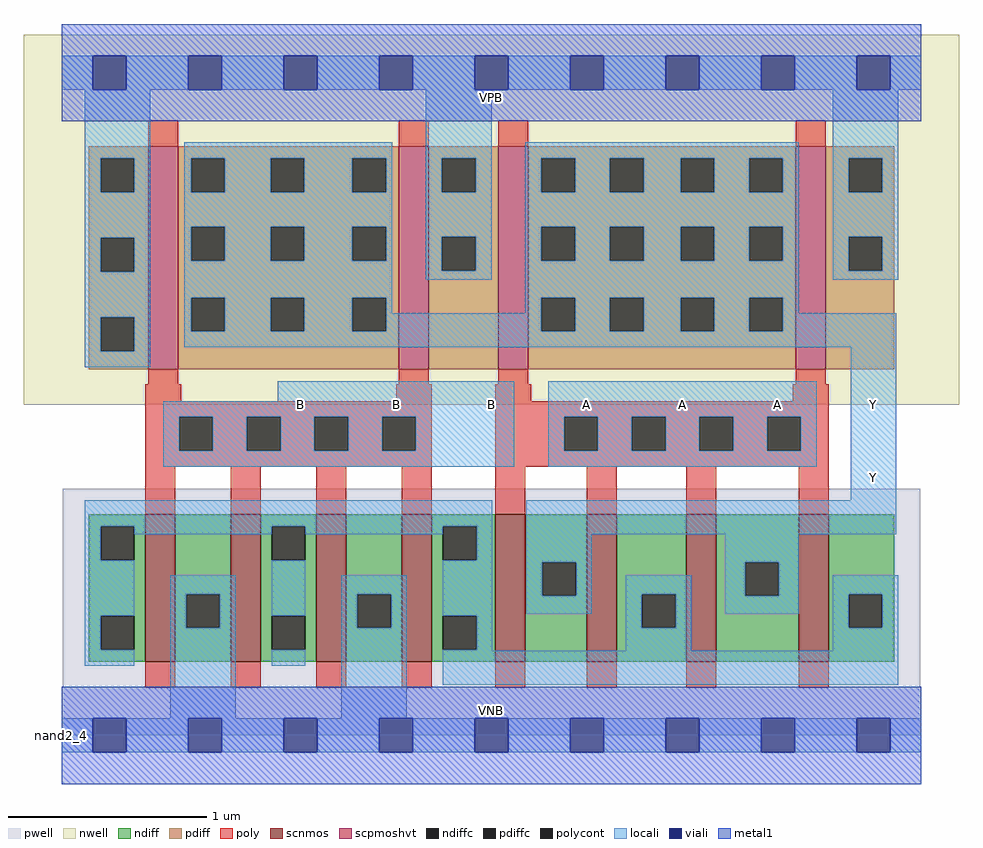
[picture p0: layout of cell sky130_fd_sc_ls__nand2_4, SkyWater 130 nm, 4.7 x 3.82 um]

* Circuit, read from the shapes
.subckt sky130_fd_sc_ls__nand2_4 A B VGND VNB VPB VPWR Y
XM1 VGND B n1 VNB sky130_fd_pr__nfet_01v8 w=0.74 l=0.15 m=4
XM2 Y A n1 VNB sky130_fd_pr__nfet_01v8 w=0.74 l=0.15 m=4
XM3 Y B VPWR VPB sky130_fd_pr__pfet_01v8_hvt w=1.12 l=0.15 m=2
XM4 Y A VPWR VPB sky130_fd_pr__pfet_01v8_hvt w=1.12 l=0.15 m=2
.ends

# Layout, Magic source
magic
tech sky130A
magscale 1 2
<< nwell >>
rect -38 332 902 704
<< pwell >>
rect 1 49 863 248
rect 0 0 864 49
<< scnmos >>
rect 84 74 114 222
rect 170 74 200 222
rect 256 74 286 222
rect 342 74 372 222
rect 436 74 466 222
rect 528 74 558 222
rect 628 74 658 222
rect 741 74 771 222
<< scpmoshvt >>
rect 87 368 117 592
rect 339 368 369 592
rect 439 368 469 592
rect 738 368 768 592
<< ndiff >>
rect 27 210 84 222
rect 27 176 39 210
rect 73 176 84 210
rect 27 120 84 176
rect 27 86 39 120
rect 73 86 84 120
rect 27 74 84 86
rect 114 142 170 222
rect 114 108 125 142
rect 159 108 170 142
rect 114 74 170 108
rect 200 210 256 222
rect 200 176 211 210
rect 245 176 256 210
rect 200 120 256 176
rect 200 86 211 120
rect 245 86 256 120
rect 200 74 256 86
rect 286 142 342 222
rect 286 108 297 142
rect 331 108 342 142
rect 286 74 342 108
rect 372 210 436 222
rect 372 176 383 210
rect 417 176 436 210
rect 372 120 436 176
rect 372 86 383 120
rect 417 86 436 120
rect 372 74 436 86
rect 466 174 528 222
rect 466 140 483 174
rect 517 140 528 174
rect 466 74 528 140
rect 558 142 628 222
rect 558 108 583 142
rect 617 108 628 142
rect 558 74 628 108
rect 658 174 741 222
rect 658 140 687 174
rect 721 140 741 174
rect 658 74 741 140
rect 771 142 837 222
rect 771 108 791 142
rect 825 108 837 142
rect 771 74 837 108
<< pdiff >>
rect 27 580 87 592
rect 27 546 39 580
rect 73 546 87 580
rect 27 500 87 546
rect 27 466 39 500
rect 73 466 87 500
rect 27 420 87 466
rect 27 386 39 420
rect 73 386 87 420
rect 27 368 87 386
rect 117 580 339 592
rect 117 546 130 580
rect 164 546 210 580
rect 244 546 292 580
rect 326 546 339 580
rect 117 511 339 546
rect 117 477 130 511
rect 164 477 210 511
rect 244 477 292 511
rect 326 477 339 511
rect 117 440 339 477
rect 117 406 130 440
rect 164 406 210 440
rect 244 406 292 440
rect 326 406 339 440
rect 117 368 339 406
rect 369 580 439 592
rect 369 546 382 580
rect 416 546 439 580
rect 369 501 439 546
rect 369 467 382 501
rect 416 467 439 501
rect 369 368 439 467
rect 469 580 738 592
rect 469 546 482 580
rect 516 546 551 580
rect 585 546 622 580
rect 656 546 691 580
rect 725 546 738 580
rect 469 511 738 546
rect 469 477 482 511
rect 516 477 551 511
rect 585 477 622 511
rect 656 477 691 511
rect 725 477 738 511
rect 469 440 738 477
rect 469 406 482 440
rect 516 406 551 440
rect 585 406 622 440
rect 656 406 691 440
rect 725 406 738 440
rect 469 368 738 406
rect 768 580 837 592
rect 768 546 791 580
rect 825 546 837 580
rect 768 501 837 546
rect 768 467 791 501
rect 825 467 837 501
rect 768 368 837 467
<< ndiffc >>
rect 39 176 73 210
rect 39 86 73 120
rect 125 108 159 142
rect 211 176 245 210
rect 211 86 245 120
rect 297 108 331 142
rect 383 176 417 210
rect 383 86 417 120
rect 483 140 517 174
rect 583 108 617 142
rect 687 140 721 174
rect 791 108 825 142
<< pdiffc >>
rect 39 546 73 580
rect 39 466 73 500
rect 39 386 73 420
rect 130 546 164 580
rect 210 546 244 580
rect 292 546 326 580
rect 130 477 164 511
rect 210 477 244 511
rect 292 477 326 511
rect 130 406 164 440
rect 210 406 244 440
rect 292 406 326 440
rect 382 546 416 580
rect 382 467 416 501
rect 482 546 516 580
rect 551 546 585 580
rect 622 546 656 580
rect 691 546 725 580
rect 482 477 516 511
rect 551 477 585 511
rect 622 477 656 511
rect 691 477 725 511
rect 482 406 516 440
rect 551 406 585 440
rect 622 406 656 440
rect 691 406 725 440
rect 791 546 825 580
rect 791 467 825 501
<< poly >>
rect 87 592 117 618
rect 339 592 369 618
rect 439 592 469 618
rect 738 592 768 618
rect 87 353 117 368
rect 339 353 369 368
rect 439 353 469 368
rect 738 353 768 368
rect 84 336 120 353
rect 336 336 372 353
rect 84 320 372 336
rect 84 286 118 320
rect 152 286 186 320
rect 220 286 254 320
rect 288 286 322 320
rect 356 286 372 320
rect 84 270 372 286
rect 84 222 114 270
rect 170 222 200 270
rect 256 222 286 270
rect 342 222 372 270
rect 436 336 472 353
rect 735 336 771 353
rect 436 320 771 336
rect 436 286 505 320
rect 539 286 573 320
rect 607 286 641 320
rect 675 286 709 320
rect 743 286 771 320
rect 436 270 771 286
rect 436 222 466 270
rect 528 222 558 270
rect 628 222 658 270
rect 741 222 771 270
rect 84 48 114 74
rect 170 48 200 74
rect 256 48 286 74
rect 342 48 372 74
rect 436 48 466 74
rect 528 48 558 74
rect 628 48 658 74
rect 741 48 771 74
<< polycont >>
rect 118 286 152 320
rect 186 286 220 320
rect 254 286 288 320
rect 322 286 356 320
rect 505 286 539 320
rect 573 286 607 320
rect 641 286 675 320
rect 709 286 743 320
<< locali >>
rect 0 649 31 683
rect 65 649 127 683
rect 161 649 223 683
rect 257 649 319 683
rect 353 649 415 683
rect 449 649 511 683
rect 545 649 607 683
rect 641 649 703 683
rect 737 649 799 683
rect 833 649 864 683
rect 23 580 89 649
rect 23 546 39 580
rect 73 546 89 580
rect 23 500 89 546
rect 23 466 39 500
rect 73 466 89 500
rect 23 420 89 466
rect 23 386 39 420
rect 73 386 89 420
rect 123 580 332 596
rect 123 546 130 580
rect 164 546 210 580
rect 244 546 292 580
rect 326 546 332 580
rect 123 511 332 546
rect 123 477 130 511
rect 164 477 210 511
rect 244 477 292 511
rect 326 477 332 511
rect 123 440 332 477
rect 366 580 432 649
rect 366 546 382 580
rect 416 546 432 580
rect 366 501 432 546
rect 366 467 382 501
rect 416 467 432 501
rect 366 458 432 467
rect 466 580 741 596
rect 466 546 482 580
rect 516 546 551 580
rect 585 546 622 580
rect 656 546 691 580
rect 725 546 741 580
rect 466 511 741 546
rect 466 477 482 511
rect 516 477 551 511
rect 585 477 622 511
rect 656 477 691 511
rect 725 477 741 511
rect 123 406 130 440
rect 164 406 210 440
rect 244 406 292 440
rect 326 424 332 440
rect 466 440 741 477
rect 775 580 841 649
rect 775 546 791 580
rect 825 546 841 580
rect 775 501 841 546
rect 775 467 791 501
rect 825 467 841 501
rect 775 458 841 467
rect 466 424 482 440
rect 326 406 482 424
rect 516 406 551 440
rect 585 406 622 440
rect 656 406 691 440
rect 725 424 741 440
rect 725 406 839 424
rect 123 390 839 406
rect 23 370 89 386
rect 217 336 455 356
rect 102 320 455 336
rect 102 286 118 320
rect 152 286 186 320
rect 220 286 254 320
rect 288 286 322 320
rect 356 286 455 320
rect 102 270 455 286
rect 489 320 759 356
rect 489 286 505 320
rect 539 286 573 320
rect 607 286 641 320
rect 675 286 709 320
rect 743 286 759 320
rect 489 270 759 286
rect 793 236 839 390
rect 23 210 433 236
rect 23 176 39 210
rect 73 202 211 210
rect 23 120 73 176
rect 245 202 383 210
rect 23 86 39 120
rect 23 70 73 86
rect 109 142 175 161
rect 109 108 125 142
rect 159 108 175 142
rect 109 17 175 108
rect 211 120 245 176
rect 417 176 433 210
rect 211 70 245 86
rect 281 142 347 161
rect 281 108 297 142
rect 331 108 347 142
rect 281 17 347 108
rect 383 120 433 176
rect 467 202 839 236
rect 467 174 533 202
rect 467 140 483 174
rect 517 140 533 174
rect 667 174 741 202
rect 467 122 533 140
rect 567 142 633 161
rect 417 86 433 120
rect 383 85 433 86
rect 567 108 583 142
rect 617 108 633 142
rect 667 140 687 174
rect 721 140 741 174
rect 667 122 741 140
rect 775 142 841 161
rect 567 85 633 108
rect 775 108 791 142
rect 825 108 841 142
rect 775 85 841 108
rect 383 51 841 85
rect 0 -17 31 17
rect 65 -17 127 17
rect 161 -17 223 17
rect 257 -17 319 17
rect 353 -17 415 17
rect 449 -17 511 17
rect 545 -17 607 17
rect 641 -17 703 17
rect 737 -17 799 17
rect 833 -17 864 17
<< viali >>
rect 31 649 65 683
rect 127 649 161 683
rect 223 649 257 683
rect 319 649 353 683
rect 415 649 449 683
rect 511 649 545 683
rect 607 649 641 683
rect 703 649 737 683
rect 799 649 833 683
rect 31 -17 65 17
rect 127 -17 161 17
rect 223 -17 257 17
rect 319 -17 353 17
rect 415 -17 449 17
rect 511 -17 545 17
rect 607 -17 641 17
rect 703 -17 737 17
rect 799 -17 833 17
<< metal1 >>
rect 0 683 864 715
rect 0 649 31 683
rect 65 649 127 683
rect 161 649 223 683
rect 257 649 319 683
rect 353 649 415 683
rect 449 649 511 683
rect 545 649 607 683
rect 641 649 703 683
rect 737 649 799 683
rect 833 649 864 683
rect 0 617 864 649
rect 0 17 864 49
rect 0 -17 31 17
rect 65 -17 127 17
rect 161 -17 223 17
rect 257 -17 319 17
rect 353 -17 415 17
rect 449 -17 511 17
rect 545 -17 607 17
rect 641 -17 703 17
rect 737 -17 799 17
rect 833 -17 864 17
rect 0 -49 864 -17
<< labels >>
rlabel comment s 0 0 0 0 4 nand2_4
flabel pwell s 0 0 864 49 0 FreeSans 200 0 0 0 VNB
port 4 nsew ground bidirectional
flabel nwell s 0 617 864 666 0 FreeSans 200 0 0 0 VPB
port 5 nsew power bidirectional
flabel metal1 s 0 617 864 666 0 FreeSans 340 0 0 0 VPWR
port 6 nsew power bidirectional abutment
flabel metal1 s 0 0 864 49 0 FreeSans 340 0 0 0 VGND
port 3 nsew ground bidirectional abutment
flabel locali s 799 242 833 276 0 FreeSans 340 0 0 0 Y
port 7 nsew signal output
flabel locali s 799 316 833 350 0 FreeSans 340 0 0 0 Y
port 7 nsew signal output
flabel locali s 223 316 257 350 0 FreeSans 340 0 0 0 B
port 2 nsew signal input
flabel locali s 319 316 353 350 0 FreeSans 340 0 0 0 B
port 2 nsew signal input
flabel locali s 415 316 449 350 0 FreeSans 340 0 0 0 B
port 2 nsew signal input
flabel locali s 511 316 545 350 0 FreeSans 340 0 0 0 A
port 1 nsew signal input
flabel locali s 607 316 641 350 0 FreeSans 340 0 0 0 A
port 1 nsew signal input
flabel locali s 703 316 737 350 0 FreeSans 340 0 0 0 A
port 1 nsew signal input
<< properties >>
string LEFsite unit
string LEFclass CORE
string FIXED_BBOX 0 0 864 666
string GDS_FILE $PDKPATH/libs.ref/sky130_fd_sc_ls/gds/sky130_fd_sc_ls.gds
string LEFsymmetry X Y
string GDS_END 3665632
string GDS_START 3657714
<< end >>
